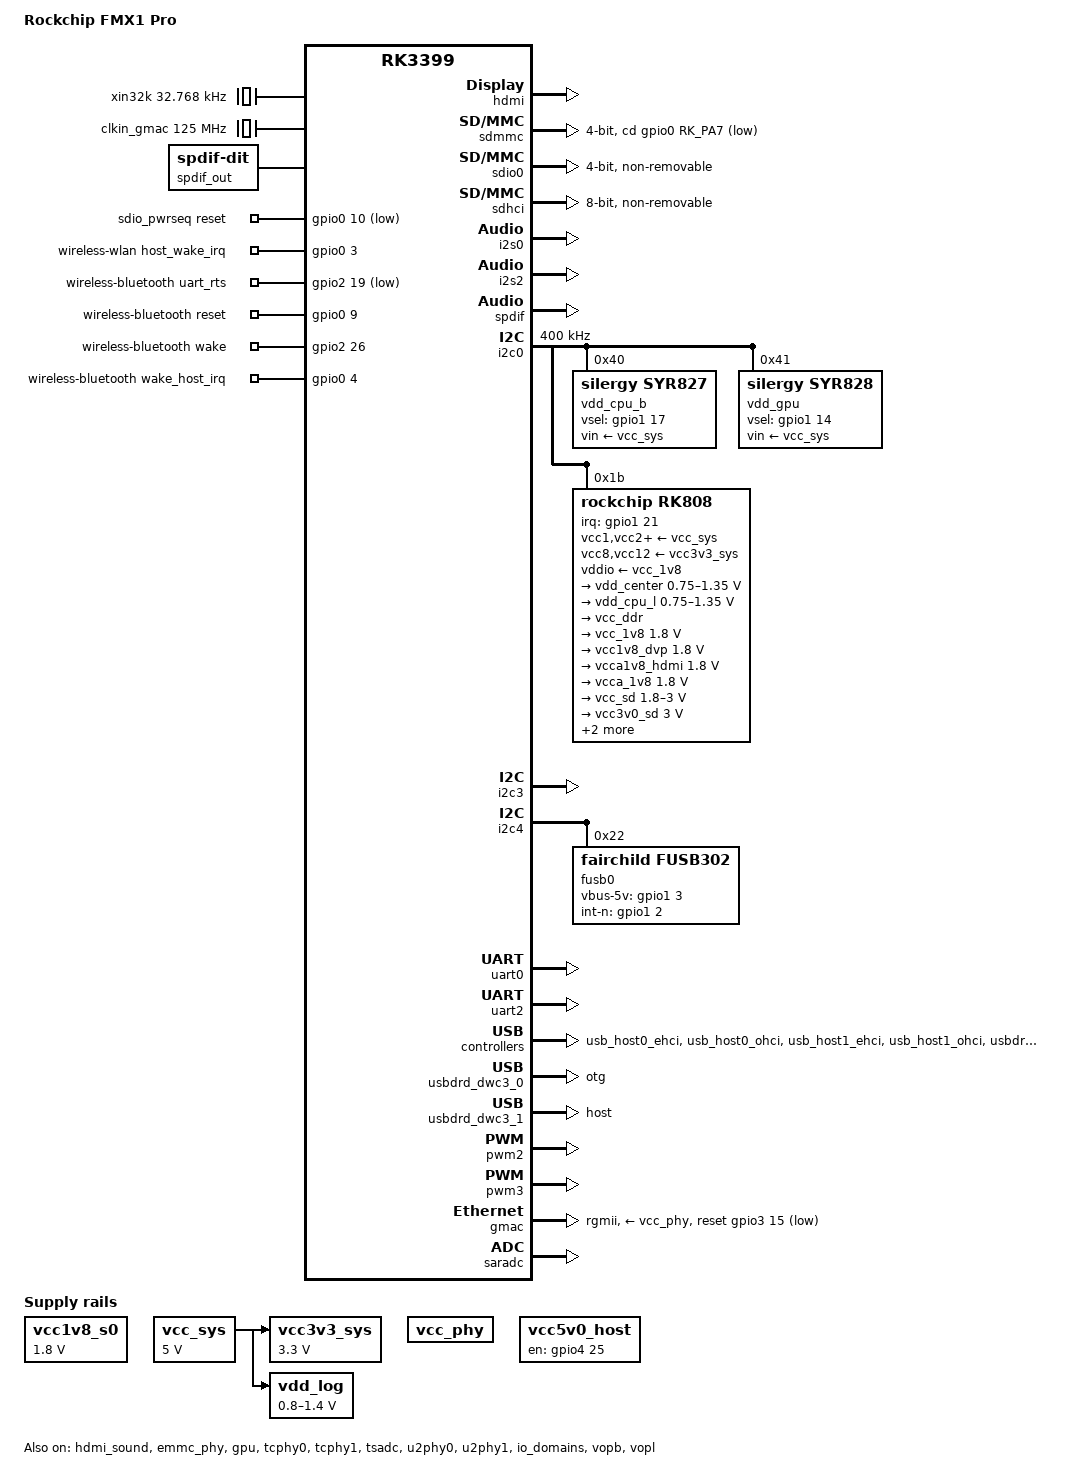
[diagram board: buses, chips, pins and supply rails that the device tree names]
// SPDX-License-Identifier: (GPL-2.0+ OR MIT)
/*
 * Copyright (c) 2022 Rockchip Electronics Co., Ltd.
 *
 */

/dts-v1/;
#include <dt-bindings/input/input.h>
#include <dt-bindings/pwm/pwm.h>
#include "rk3399.dtsi"
#include "rk3399-opp.dtsi"

/ {
	model = "Rockchip FMX1 Pro";
	compatible = "rockchip,fmx1-pro", "rockchip,rk3399";

	aliases {
		mmc0 = &sdio0;
		mmc1 = &sdmmc;
		mmc2 = &sdhci;
	};

	chosen {
		stdout-path = "serial2:1500000n8";
	};

	vcc1v8_s0: vcc1v8-s0 {
		compatible = "regulator-fixed";
		regulator-name = "vcc1v8_s0";
		regulator-min-microvolt = <1800000>;
		regulator-max-microvolt = <1800000>;
		regulator-always-on;
	};

	vcc_sys: vcc-sys {
		compatible = "regulator-fixed";
		regulator-name = "vcc_sys";
		regulator-min-microvolt = <5000000>;
		regulator-max-microvolt = <5000000>;
		regulator-always-on;
	};

	vcc_phy: vcc-phy-regulator {
		compatible = "regulator-fixed";
		regulator-name = "vcc_phy";
		regulator-always-on;
		regulator-boot-on;
	};

	vcc3v3_sys: vcc3v3-sys {
		compatible = "regulator-fixed";
		regulator-name = "vcc3v3_sys";
		regulator-min-microvolt = <3300000>;
		regulator-max-microvolt = <3300000>;
		regulator-always-on;
		vin-supply = <&vcc_sys>;
	};

	vcc5v0_host: vcc5v0-host-regulator {
		compatible = "regulator-fixed";
		enable-active-high;
		gpio = <&gpio4 25 GPIO_ACTIVE_HIGH>;
		pinctrl-names = "default";
		pinctrl-0 = <&host_vbus_drv>;
		regulator-name = "vcc5v0_host";
		regulator-always-on;
	};

	vdd_log: vdd-log {
		compatible = "pwm-regulator";
		pwms = <&pwm2 0 25000 1>;
		regulator-name = "vdd_log";
		regulator-min-microvolt = <800000>;
		regulator-max-microvolt = <1400000>;
		regulator-always-on;
		regulator-boot-on;

		/* for rockchip boot on */
		rockchip,pwm_id= <2>;
		rockchip,pwm_voltage = <900000>;

		vin-supply = <&vcc_sys>;
	};

	xin32k: xin32k {
		compatible = "fixed-clock";
		clock-frequency = <32768>;
		clock-output-names = "xin32k";
		#clock-cells = <0>;
	};

	clkin_gmac: external-gmac-clock {
		compatible = "fixed-clock";
		clock-frequency = <125000000>;
		clock-output-names = "clkin_gmac";
		#clock-cells = <0>;
	};

	spdif-sound {
		status = "okay";
		compatible = "simple-audio-card";
		simple-audio-card,name = "ROCKCHIP,SPDIF";
		simple-audio-card,mclk-fs = <128>;
		simple-audio-card,cpu {
			sound-dai = <&spdif>;
		};
		simple-audio-card,codec {
			sound-dai = <&spdif_out>;
		};
	};

	spdif_out: spdif-out {
		status = "okay";
		compatible = "linux,spdif-dit";
		#sound-dai-cells = <0>;
	};

	sdio_pwrseq: sdio-pwrseq {
		compatible = "mmc-pwrseq-simple";
		clocks = <&rk808 1>;
		clock-names = "ext_clock";
		pinctrl-names = "default";
		pinctrl-0 = <&wifi_enable_h>;

		/*
		 * On the module itself this is one of these (depending
		 * on the actual card populated):
		 * - SDIO_RESET_L_WL_REG_ON
		 * - PDN (power down when low)
		 */
		reset-gpios = <&gpio0 10 GPIO_ACTIVE_LOW>;
	};

	wireless-wlan {
		compatible = "wlan-platdata";
		rockchip,grf = <&grf>;
		wifi_chip_type = "ap6354";
		sdio_vref = <1800>;
		WIFI,host_wake_irq = <&gpio0 3 GPIO_ACTIVE_HIGH>;
		status = "okay";
	};

	wireless-bluetooth {
		compatible = "bluetooth-platdata";
		clocks = <&rk808 1>;
		clock-names = "ext_clock";
		/* wifi-bt-power-toggle; */
		uart_rts_gpios = <&gpio2 19 GPIO_ACTIVE_LOW>;
		pinctrl-names = "default", "rts_gpio";
		pinctrl-0 = <&uart0_rts>;
		pinctrl-1 = <&uart0_gpios>;
		/* BT,power_gpio  = <&gpio3 19 GPIO_ACTIVE_HIGH>; */
		BT,reset_gpio    = <&gpio0 9 GPIO_ACTIVE_HIGH>;
		BT,wake_gpio     = <&gpio2 26 GPIO_ACTIVE_HIGH>;
		BT,wake_host_irq = <&gpio0 4 GPIO_ACTIVE_HIGH>;
		status = "okay";
	};

	test-power {
		status = "okay";
	};
};

&hdmi {
	#address-cells = <1>;
	#size-cells = <0>;
	#sound-dai-cells = <0>;
	ddc-i2c-bus = <&i2c3>;
	pinctrl-names = "default";
	pinctrl-0 = <&hdmi_i2c_xfer>, <&hdmi_cec>;
	ddc-i2c-scl-high-time-ns = <9625>;
	ddc-i2c-scl-low-time-ns = <10000>;
	status = "okay";
};

&hdmi_sound {
	status = "okay";
};

&sdmmc {
	bus-width = <4>;
	cap-mmc-highspeed;
	cap-sd-highspeed;
	cd-gpios = <&gpio0 RK_PA7 GPIO_ACTIVE_LOW>;
	disable-wp;
	max-frequency = <150000000>;
	pinctrl-names = "default";
	pinctrl-0 = <&sdmmc_clk &sdmmc_cmd &sdmmc_cd &sdmmc_bus4>;
	card-detect-delay = <800>;
	vqmmc-supply = <&vcc_sd>;
	status = "okay";
};

&sdio0 {
	bus-width = <4>;
	disable-wp;
	cap-sd-highspeed;
	cap-sdio-irq;
	keep-power-in-suspend;
	clock-frequency = <50000000>;
	max-frequency = <50000000>;
	mmc-pwrseq = <&sdio_pwrseq>;
	non-removable;
	pinctrl-names = "default";
	pinctrl-0 = <&sdio0_bus4 &sdio0_cmd &sdio0_clk>;
	sd-uhs-sdr104;
	#address-cells = <1>;
	#size-cells = <0>;
	status = "okay";
};

&emmc_phy {
	status = "okay";
};

&sdhci {
	bus-width = <8>;
	mmc-hs200-1_8v;
	keep-power-in-suspend;
	non-removable;
	status = "okay";
};

&i2s0 {
	status = "okay";
	rockchip,i2s-broken-burst-len;
	rockchip,playback-channels = <8>;
	rockchip,capture-channels = <8>;
	#sound-dai-cells = <0>;
};

&i2s2 {
	#sound-dai-cells = <0>;
	rockchip,bclk-fs = <128>;
};

&spdif {
	pinctrl-0 = <&spdif_bus_1>;
	status = "okay";
	#sound-dai-cells = <0>;
};

&i2c0 {
	status = "okay";
	i2c-scl-rising-time-ns = <168>;
	i2c-scl-falling-time-ns = <4>;
	clock-frequency = <400000>;

	vdd_cpu_b: syr827@40 {
		compatible = "silergy,syr827";
		reg = <0x40>;
		regulator-compatible = "fan53555-reg";
		pinctrl-0 = <&vsel1_gpio>;
		vsel-gpios = <&gpio1 17 GPIO_ACTIVE_HIGH>;
		regulator-name = "vdd_cpu_b";
		regulator-min-microvolt = <712500>;
		regulator-max-microvolt = <1500000>;
		regulator-ramp-delay = <1000>;
		fcs,suspend-voltage-selector = <1>;
		regulator-always-on;
		regulator-boot-on;
		vin-supply = <&vcc_sys>;
		regulator-state-mem {
			regulator-off-in-suspend;
		};
	};

	vdd_gpu: syr828@41 {
		compatible = "silergy,syr828";
		reg = <0x41>;
		regulator-compatible = "fan53555-reg";
		pinctrl-0 = <&vsel2_gpio>;
		vsel-gpios = <&gpio1 14 GPIO_ACTIVE_HIGH>;
		regulator-name = "vdd_gpu";
		regulator-min-microvolt = <712500>;
		regulator-max-microvolt = <1500000>;
		regulator-ramp-delay = <1000>;
		fcs,suspend-voltage-selector = <1>;
		regulator-always-on;
		regulator-boot-on;
		vin-supply = <&vcc_sys>;
		regulator-initial-mode = <1>; /* 1:force PWM 2:auto */
		regulator-state-mem {
			regulator-off-in-suspend;
		};
	};

	rk808: pmic@1b {
		compatible = "rockchip,rk808";
		reg = <0x1b>;
		interrupt-parent = <&gpio1>;
		interrupts = <21 IRQ_TYPE_LEVEL_LOW>;
		pinctrl-names = "default";
		pinctrl-0 = <&pmic_int_l>;
		rockchip,system-power-controller;
		wakeup-source;
		#clock-cells = <1>;
		clock-output-names = "rk808-clkout1", "rk808-clkout2";

		vcc1-supply = <&vcc_sys>;
		vcc2-supply = <&vcc_sys>;
		vcc3-supply = <&vcc_sys>;
		vcc4-supply = <&vcc_sys>;
		vcc6-supply = <&vcc_sys>;
		vcc7-supply = <&vcc_sys>;
		vcc8-supply = <&vcc3v3_sys>;
		vcc9-supply = <&vcc_sys>;
		vcc10-supply = <&vcc_sys>;
		vcc11-supply = <&vcc_sys>;
		vcc12-supply = <&vcc3v3_sys>;
		vddio-supply = <&vcc_1v8>;

		regulators {
			vdd_center: DCDC_REG1 {
				regulator-name = "vdd_center";
				regulator-min-microvolt = <750000>;
				regulator-max-microvolt = <1350000>;
				regulator-ramp-delay = <6001>;
				regulator-always-on;
				regulator-boot-on;
				regulator-state-mem {
					regulator-off-in-suspend;
				};
			};

			vdd_cpu_l: DCDC_REG2 {
				regulator-name = "vdd_cpu_l";
				regulator-min-microvolt = <750000>;
				regulator-max-microvolt = <1350000>;
				regulator-ramp-delay = <6001>;
				regulator-always-on;
				regulator-boot-on;
				regulator-state-mem {
					regulator-off-in-suspend;
				};
			};

			vcc_ddr: DCDC_REG3 {
				regulator-name = "vcc_ddr";
				regulator-always-on;
				regulator-boot-on;
				regulator-state-mem {
					regulator-on-in-suspend;
				};
			};

			vcc_1v8: DCDC_REG4 {
				regulator-name = "vcc_1v8";
				regulator-min-microvolt = <1800000>;
				regulator-max-microvolt = <1800000>;
				regulator-always-on;
				regulator-boot-on;
				regulator-state-mem {
					regulator-on-in-suspend;
					regulator-suspend-microvolt = <1800000>;
				};
			};

			vcc1v8_dvp: LDO_REG1 {
				regulator-name = "vcc1v8_dvp";
				regulator-min-microvolt = <1800000>;
				regulator-max-microvolt = <1800000>;
				regulator-always-on;
				regulator-boot-on;
				regulator-state-mem {
					regulator-on-in-suspend;
					regulator-suspend-microvolt = <1800000>;
				};
			};

			vcca1v8_hdmi: LDO_REG2 {
				regulator-name = "vcca1v8_hdmi";
				regulator-min-microvolt = <1800000>;
				regulator-max-microvolt = <1800000>;
				regulator-always-on;
				regulator-boot-on;
				regulator-state-mem {
					regulator-on-in-suspend;
					regulator-suspend-microvolt = <1800000>;
				};
			};

			vcca_1v8: LDO_REG3 {
				regulator-name = "vcca_1v8";
				regulator-min-microvolt = <1800000>;
				regulator-max-microvolt = <1800000>;
				regulator-always-on;
				regulator-boot-on;
				regulator-state-mem {
					regulator-on-in-suspend;
					regulator-suspend-microvolt = <1800000>;
				};
			};

			vcc_sd: LDO_REG4 {
				regulator-name = "vcc_sd";
				regulator-min-microvolt = <1800000>;
				regulator-max-microvolt = <3000000>;
				regulator-always-on;
				regulator-boot-on;
				regulator-state-mem {
					regulator-on-in-suspend;
					regulator-suspend-microvolt = <3000000>;
				};
			};

			vcc3v0_sd: LDO_REG5 {
				regulator-name = "vcc3v0_sd";
				regulator-min-microvolt = <3000000>;
				regulator-max-microvolt = <3000000>;
				regulator-always-on;
				regulator-boot-on;
				regulator-state-mem {
					regulator-on-in-suspend;
					regulator-suspend-microvolt = <3000000>;
				};
			};

			vcc_1v5: LDO_REG6 {
				regulator-name = "vcc_1v5";
				regulator-min-microvolt = <1500000>;
				regulator-max-microvolt = <1500000>;
				regulator-always-on;
				regulator-boot-on;
				regulator-state-mem {
					regulator-on-in-suspend;
					regulator-suspend-microvolt = <1500000>;
				};
			};

			vcca0v9_hdmi: LDO_REG7 {
				regulator-name = "vcca0v9_hdmi";
				regulator-min-microvolt = <900000>;
				regulator-max-microvolt = <900000>;
				regulator-always-on;
				regulator-boot-on;
				regulator-state-mem {
					regulator-on-in-suspend;
					regulator-suspend-microvolt = <900000>;
				};
			};

			vcc_3v0: LDO_REG8 {
				regulator-name = "vcc_3v0";
				regulator-min-microvolt = <3000000>;
				regulator-max-microvolt = <3000000>;
				regulator-always-on;
				regulator-boot-on;
				regulator-state-mem {
					regulator-on-in-suspend;
					regulator-suspend-microvolt = <3000000>;
				};
			};

			vcc3v3_s3: SWITCH_REG1 {
				regulator-name = "vcc3v3_s3";
				regulator-always-on;
				regulator-boot-on;
				regulator-state-mem {
					regulator-on-in-suspend;
				};
			};

			vcc3v3_s0: SWITCH_REG2 {
				regulator-name = "vcc3v3_s0";
				regulator-always-on;
				regulator-boot-on;
				regulator-state-mem {
					regulator-on-in-suspend;
				};
			};
		};
	};
};

// Used for HDMI
&i2c3 {
	i2c-scl-rising-time-ns = <450>;
	i2c-scl-falling-time-ns = <15>;
	status = "okay";
};

&i2c4 {
	status = "okay";
	fusb0: fusb30x@22 {
		compatible = "fairchild,fusb302";
		reg = <0x22>;
		pinctrl-names = "default";
		pinctrl-0 = <&fusb0_int>;
		vbus-5v-gpios = <&gpio1 3 GPIO_ACTIVE_HIGH>;
		int-n-gpios = <&gpio1 2 GPIO_ACTIVE_HIGH>;
		status = "okay";
	};
};

&cpu_l0 {
	cpu-supply = <&vdd_cpu_l>;
};

&cpu_l1 {
	cpu-supply = <&vdd_cpu_l>;
};

&cpu_l2 {
	cpu-supply = <&vdd_cpu_l>;
};

&cpu_l3 {
	cpu-supply = <&vdd_cpu_l>;
};

&cpu_b0 {
	cpu-supply = <&vdd_cpu_b>;
};

&cpu_b1 {
	cpu-supply = <&vdd_cpu_b>;
};

&gpu {
	status = "okay";
	mali-supply = <&vdd_gpu>;
};

&tcphy0 {
	extcon = <&fusb0>;
	status = "okay";
};

&tcphy1 {
	status = "okay";
};

&tsadc {
	/* tshut mode 0:CRU 1:GPIO */
	rockchip,hw-tshut-mode = <1>;
	/* tshut polarity 0:LOW 1:HIGH */
	rockchip,hw-tshut-polarity = <1>;
	rockchip,hw-tshut-temp = <120000>;
	status = "okay";
};

&u2phy0 {
	status = "okay";
	extcon = <&fusb0>;

	u2phy0_otg: otg-port {
		status = "okay";
	};

	u2phy0_host: host-port {
		phy-supply = <&vcc5v0_host>;
		status = "okay";
	};
};

&u2phy1 {
	status = "okay";

	u2phy1_otg: otg-port {
		status = "okay";
	};

	u2phy1_host: host-port {
		phy-supply = <&vcc5v0_host>;
		status = "okay";
	};
};

&uart0 {
	pinctrl-names = "default";
	pinctrl-0 = <&uart0_xfer &uart0_cts>;
	status = "okay";
};

&uart2 {
	status = "okay";
};

&usb_host0_ehci {
	status = "okay";
};

&usb_host0_ohci {
	status = "okay";
};

&usb_host1_ehci {
	status = "okay";
};

&usb_host1_ohci {
	status = "okay";
};

&usbdrd3_0 {
	status = "okay";
};

&usbdrd_dwc3_0 {
	dr_mode = "otg";
	status = "okay";
	extcon = <&fusb0>;
};

&usbdrd3_1 {
	status = "okay";
};

&usbdrd_dwc3_1 {
	dr_mode = "host";
	status = "okay";
};

&pwm2 {
	status = "okay";
	pinctrl-names = "active";
	pinctrl-0 = <&pwm2_pin_pull_down>;
};

&pwm3 {
	status = "okay";

	interrupts = <GIC_SPI 61 IRQ_TYPE_LEVEL_HIGH 0>;
	compatible = "rockchip,remotectl-pwm";
	remote_pwm_id = <3>;
	handle_cpu_id = <1>;
	remote_support_psci = <1>;
};

&gmac {
	phy-supply = <&vcc_phy>;
	phy-mode = "rgmii";
	clock_in_out = "input";
	snps,reset-gpio = <&gpio3 15 GPIO_ACTIVE_LOW>;
	snps,reset-active-low;
	snps,reset-delays-us = <0 10000 50000>;
	assigned-clocks = <&cru SCLK_RMII_SRC>;
	assigned-clock-parents = <&clkin_gmac>;
	pinctrl-names = "default", "sleep";
	pinctrl-0 = <&rgmii_pins>;
	pinctrl-1 = <&rgmii_sleep_pins>;
	tx_delay = <0x28>;
	rx_delay = <0x11>;
	status = "okay";
};

&saradc {
	status = "okay";
};

&i2s2 {
	status = "okay";
};

&io_domains {
	status = "okay";

	bt656-supply = <&vcc1v8_s0>; /* bt656_gpio2ab_ms */
	audio-supply = <&vcc1v8_s0>; /* audio_gpio3d4a_ms */
	sdmmc-supply = <&vcc_sd>; /* sdmmc_gpio4b_ms */
	gpio1830-supply = <&vcc_3v0>; /* gpio1833_gpio4cd_ms */
};

&pinctrl {
	sdio-pwrseq {
		wifi_enable_h: wifi-enable-h {
			rockchip,pins =
				<0 RK_PB2 RK_FUNC_GPIO &pcfg_pull_none>;
		};
	};

	wireless-bluetooth {
		uart0_gpios: uart0-gpios {
			rockchip,pins =
				<2 RK_PC3 RK_FUNC_GPIO &pcfg_pull_none>;
		};
	};

	usb2 {
		host_vbus_drv: host-vbus-drv {
			rockchip,pins =
				<4 RK_PD1 RK_FUNC_GPIO &pcfg_pull_none>;
		};
	};
	
	fusb30x {
		fusb0_int: fusb0-int {
			rockchip,pins =
				<1 RK_PA2 RK_FUNC_GPIO &pcfg_pull_up>;
		};
	};

	pmic {
		pmic_int_l: pmic-int-l {
			rockchip,pins =
				<1 RK_PC5 RK_FUNC_GPIO &pcfg_pull_up>;
		};

		vsel1_gpio: vsel1-gpio {
			rockchip,pins =
				<1 RK_PC1 RK_FUNC_GPIO &pcfg_pull_down>;
		};

		vsel2_gpio: vsel2-gpio {
			rockchip,pins =
				<1 RK_PB6 RK_FUNC_GPIO &pcfg_pull_down>;
		};
	};

	gmac {
		rgmii_sleep_pins: rgmii-sleep-pins {
			rockchip,pins =
				<3 RK_PB7 RK_FUNC_GPIO &pcfg_output_low>;
		};
	};
};

&pmu_io_domains {
	status = "okay";
	pmu1830-supply = <&vcc_3v0>;
};

&vopb {
	status = "okay";
};

&vopb_mmu {
	status = "okay";
};

&vopl {
	status = "okay";
};

&vopl_mmu {
	status = "okay";
};
